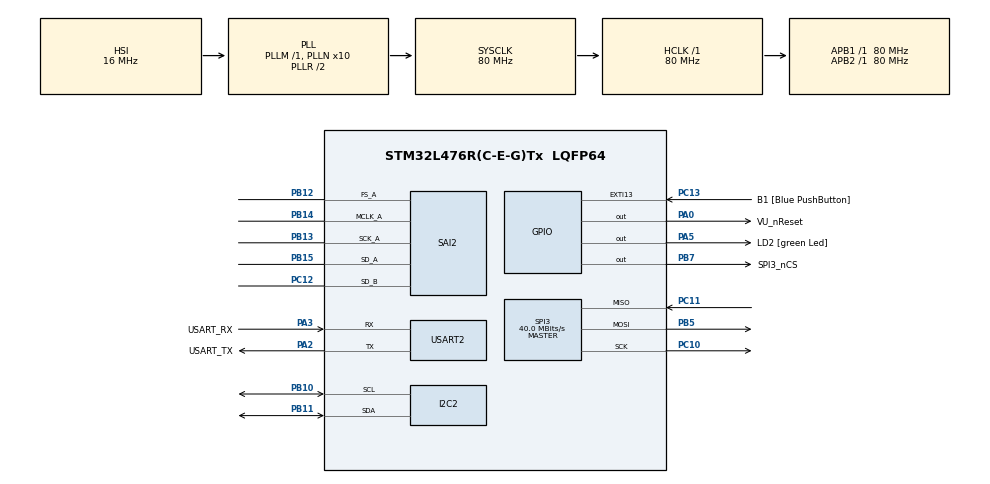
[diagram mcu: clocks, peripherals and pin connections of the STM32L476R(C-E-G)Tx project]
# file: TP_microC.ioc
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Dma.Request0=SAI2_A
Dma.Request1=SAI2_B
Dma.SAI2_A.0.Direction=DMA_MEMORY_TO_PERIPH
Dma.SAI2_A.0.Instance=DMA1_Channel6
Dma.SAI2_A.0.MemDataAlignment=DMA_MDATAALIGN_WORD
Dma.SAI2_A.0.MemInc=DMA_MINC_ENABLE
Dma.SAI2_A.0.Mode=DMA_CIRCULAR
Dma.SAI2_A.0.PeriphDataAlignment=DMA_PDATAALIGN_WORD
Dma.SAI2_A.0.PeriphInc=DMA_PINC_DISABLE
Dma.SAI2_A.0.Priority=DMA_PRIORITY_LOW
Dma.SAI2_B.1.Direction=DMA_PERIPH_TO_MEMORY
Dma.SAI2_B.1.Instance=DMA1_Channel7
Dma.SAI2_B.1.MemDataAlignment=DMA_MDATAALIGN_WORD
Dma.SAI2_B.1.MemInc=DMA_MINC_ENABLE
Dma.SAI2_B.1.Mode=DMA_CIRCULAR
Dma.SAI2_B.1.PeriphDataAlignment=DMA_PDATAALIGN_WORD
Dma.SAI2_B.1.PeriphInc=DMA_PINC_DISABLE
Dma.SAI2_B.1.Priority=DMA_PRIORITY_LOW
I2C2.Timing=0x10D19CE4
Mcu.Family=STM32L4
Mcu.Name=STM32L476R(C-E-G)Tx
Mcu.Package=LQFP64
NVIC.DMA1_Channel6_IRQn=true\:0\:0\:false\:false\:true\:false\:true\:true
NVIC.DMA1_Channel7_IRQn=true\:0\:0\:false\:false\:true\:false\:true\:true
NVIC.PriorityGroup=NVIC_PRIORITYGROUP_4
NVIC.SAI2_IRQn=true\:0\:0\:false\:false\:true\:true\:true\:true
NVIC.USART2_IRQn=true\:0\:0\:false\:false\:true\:true\:true\:true
PA0.GPIO_Label=VU_nReset
PA0.Signal=GPIO_Output
PA13\ (JTMS-SWDIO).GPIO_Label=TMS
PA13\ (JTMS-SWDIO).Mode=Serial_Wire
PA13\ (JTMS-SWDIO).Signal=SYS_JTMS-SWDIO
PA14\ (JTCK-SWCLK).GPIO_Label=TCK
PA14\ (JTCK-SWCLK).Mode=Serial_Wire
PA14\ (JTCK-SWCLK).Signal=SYS_JTCK-SWCLK
PA2.GPIO_Label=USART_TX
PA2.GPIO_Mode=GPIO_MODE_AF_PP
PA2.GPIO_PuPd=GPIO_NOPULL
PA2.GPIO_Speed=GPIO_SPEED_FREQ_VERY_HIGH
PA2.Mode=Asynchronous
PA2.Signal=USART2_TX
PA3.GPIO_Label=USART_RX
PA3.GPIO_Mode=GPIO_MODE_AF_PP
PA3.GPIO_PuPd=GPIO_NOPULL
PA3.GPIO_Speed=GPIO_SPEED_FREQ_VERY_HIGH
PA3.Mode=Asynchronous
PA3.Signal=USART2_RX
PA5.GPIO_Label=LD2 [green Led]
PA5.GPIO_ModeDefaultOutputPP=GPIO_MODE_OUTPUT_PP
PA5.GPIO_PuPd=GPIO_NOPULL
PA5.GPIO_Speed=GPIO_SPEED_FREQ_LOW
PA5.Signal=GPIO_Output
PB10.Mode=I2C
PB10.Signal=I2C2_SCL
PB11.Mode=I2C
PB11.Signal=I2C2_SDA
PB12.Mode=SAI_A_MasterWithClock
PB12.Signal=SAI2_FS_A
PB13.Mode=SAI_A_MasterWithClock
PB13.Signal=SAI2_SCK_A
PB14.Mode=SAI_A_MasterWithClock
PB14.Signal=SAI2_MCLK_A
PB15.Mode=SAI_A_MasterWithClock
PB15.Signal=SAI2_SD_A
PB3\ (JTDO-TRACESWO).GPIO_Label=SWO
PB3\ (JTDO-TRACESWO).Signal=SYS_JTDO-SWO
PB5.Mode=Full_Duplex_Master
PB5.Signal=SPI3_MOSI
PB7.GPIO_Label=SPI3_nCS
PB7.Signal=GPIO_Output
PC10.Mode=Full_Duplex_Master
PC10.Signal=SPI3_SCK
PC11.Mode=Full_Duplex_Master
PC11.Signal=SPI3_MISO
PC12.Mode=SAI_B_SyncSlave
PC12.Signal=SAI2_SD_B
PC13.GPIO_Label=B1 [Blue PushButton]
PC13.GPIO_ModeDefaultEXTI=GPIO_MODE_IT_FALLING
PC13.GPIO_PuPd=GPIO_NOPULL
PC13.Signal=GPXTI13
PC14-OSC32_IN\ (PC14).Mode=LSE-External-Oscillator
PC14-OSC32_IN\ (PC14).Signal=RCC_OSC32_IN
PC15-OSC32_OUT\ (PC15).Mode=LSE-External-Oscillator
PC15-OSC32_OUT\ (PC15).Signal=RCC_OSC32_OUT
PH0-OSC_IN\ (PH0).Signal=RCC_OSC_IN
PH1-OSC_OUT\ (PH1).Signal=RCC_OSC_OUT
ProjectManager.HeapSize=0x200
ProjectManager.StackSize=0x400
ProjectManager.TargetToolchain=STM32CubeIDE
RCC.ADCFreq_Value=104000000
RCC.AHBFreq_Value=80000000
RCC.APB1Freq_Value=80000000
RCC.APB1TimFreq_Value=80000000
RCC.APB2Freq_Value=80000000
RCC.APB2TimFreq_Value=80000000
RCC.CortexFreq_Value=80000000
RCC.HCLKFreq_Value=80000000
RCC.HSE_VALUE=8000000
RCC.HSI_VALUE=16000000
RCC.MSI_VALUE=4000000
RCC.PLLN=10
RCC.PLLSAI1N=13
RCC.PLLSAI1P=RCC_PLLP_DIV17
RCC.PLLSourceVirtual=RCC_PLLSOURCE_HSI
RCC.PREFETCH_ENABLE=1
RCC.SYSCLKFreq_VALUE=80000000
RCC.SYSCLKSource=RCC_SYSCLKSOURCE_PLLCLK
RCC.USBFreq_Value=104000000
RCC.VCOOutputFreq_Value=160000000
SAI2.AudioFrequency-SAI_A_MasterWithClock=SAI_AUDIO_FREQUENCY_48K
SAI2.ErrorAudioFreq-SAI_A_MasterWithClock=-0.42 %
SAI2.InitProtocol-SAI_A_MasterWithClock=Enable
SAI2.InitProtocol-SAI_B_SyncSlave=Enable
SAI2.Instance-SAI_A_MasterWithClock=SAI$Index_Block_A
SAI2.Instance-SAI_B_SyncSlave=SAI$Index_Block_B
SAI2.MClockEnable-SAI_A_MasterWithClock=SAI_MASTERCLOCK_ENABLE
SAI2.RealAudioFreq-SAI_A_MasterWithClock=47.794 KHz
SAI2.VirtualMode-SAI_A_MasterWithClock=VM_MASTER
SAI2.VirtualMode-SAI_B_SyncSlave=VM_SLAVE
SAI2.VirtualProtocol-SAI_A_BASIC=VM_BASIC_PROTOCOL
SAI2.VirtualProtocol-SAI_B_BASIC=VM_BASIC_PROTOCOL
SPI3.CalculateBaudRate=40.0 MBits/s
SPI3.DataSize=SPI_DATASIZE_8BIT
SPI3.Direction=SPI_DIRECTION_2LINES
SPI3.Mode=SPI_MODE_MASTER
SPI3.VirtualType=VM_MASTER
USART2.VirtualMode-Asynchronous=VM_ASYNC
VP_SAI2_VP_$IpInstance_SAIA_SAI_BASIC.Mode=SAI_A_BASIC
VP_SAI2_VP_$IpInstance_SAIB_SAI_BASIC.Mode=SAI_B_BASIC
board=NUCLEO-L476RG

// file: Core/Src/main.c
/* USER CODE BEGIN Header */
/**
 ******************************************************************************
 * @file           : main.c
 * @brief          : Main program body
 ******************************************************************************
 * @attention
 *
 * Copyright (c) 2025 STMicroelectronics.
 * All rights reserved.
 *
 * This software is licensed under terms that can be found in the LICENSE file
 * in the root directory of this software component.
 * If no LICENSE file comes with this software, it is provided AS-IS.
 *
 ******************************************************************************
 */
/* USER CODE END Header */
#include "main.h"
/* USER CODE BEGIN 0 */
#include <stdbool.h>
#include <string.h>

#include "driver_led.h"
#include "sgtl5000.h"

extern SPI_HandleTypeDef hspi3;  // SPI3

/* Private variables ---------------------------------------------------------*/
I2C_HandleTypeDef hi2c2;

SAI_HandleTypeDef hsai_BlockA2;
SAI_HandleTypeDef hsai_BlockB2;
DMA_HandleTypeDef hdma_sai2_a;
DMA_HandleTypeDef hdma_sai2_b;

SPI_HandleTypeDef hspi3;

UART_HandleTypeDef huart2;

#define TRIANGLE_RESOLUTION 100  // Nombre d’échantillons pour une période
#define TRIANGLE_AMPLITUDE  30000 // Amplitude max du signal (max 32767 pour 16 bits signé)

/* Private function prototypes -----------------------------------------------*/
void SystemClock_Config(void);
void PeriphCommonClock_Config(void);
static void MX_GPIO_Init(void);
static void MX_DMA_Init(void);
static void MX_USART2_UART_Init(void);
static void MX_SPI3_Init(void);
static void MX_I2C2_Init(void);
static void MX_SAI2_Init(void);

/* Private user code ---------------------------------------------------------*/
int16_t triangleWave[TRIANGLE_RESOLUTION]; // Stéréo : Gauche/Droite
int16_t txBuffer[TRIANGLE_RESOLUTION * 2]; // Réception DMA stéréo

/*void Generate_TriangleWave(void) {
    for (int i = 0; i < TRIANGLE_RESOLUTION / 2; i++) {
        triangleWave[i] = (int16_t)((2 * TRIANGLE_AMPLITUDE * i) / (TRIANGLE_RESOLUTION / 2) - TRIANGLE_AMPLITUDE);
    }
    for (int i = TRIANGLE_RESOLUTION / 2; i < TRIANGLE_RESOLUTION; i++) {
        triangleWave[i] = (int16_t)((-2 * TRIANGLE_AMPLITUDE * (i - TRIANGLE_RESOLUTION / 2)) / (TRIANGLE_RESOLUTION / 2) + TRIANGLE_AMPLITUDE);
    }

    // Stéréo : Copie chaque échantillon pour les deux canaux (gauche/droite)
    for (int i = 0; i < TRIANGLE_RESOLUTION; i++) {
        txBuffer[2*i] = (uint16_t)triangleWave[i];      // Canal gauche
        txBuffer[2*i + 1] = (uint16_t)triangleWave[i];  // Canal droit
    }
}*/
void Generate_TriangleWave(void) {
    for (int i = 0; i < TRIANGLE_RESOLUTION; i++) {
        int16_t value;

        if (i < TRIANGLE_RESOLUTION / 2)
            value = (2 * TRIANGLE_AMPLITUDE * i) / (TRIANGLE_RESOLUTION / 2) - TRIANGLE_AMPLITUDE;
        else
            value = (-2 * TRIANGLE_AMPLITUDE * (i - TRIANGLE_RESOLUTION / 2)) / (TRIANGLE_RESOLUTION / 2) + TRIANGLE_AMPLITUDE;

        // Stéréo : Gauche = Droite
        txBuffer[2*i]     = (uint16_t)value;
        txBuffer[2*i + 1] = (uint16_t)value;
    }
}

int __io_putchar(int chr) // redirection de printf de flux sortant stdout vers usart
{
	HAL_UART_Transmit(&huart2, (uint8_t*)&chr, 1, HAL_MAX_DELAY);
	return chr;
}

/* USER CODE END 0 */

void USART2_SendString(const char *str) {
	// Envoyer la chaîne de caractères
	HAL_UART_Transmit(&huart2, (uint8_t *)str, strlen(str), HAL_MAX_DELAY);
}

#define I2C_ADDR_CODEC   0x14  // Adresse I2C du CODEC écriture (0x0A << 1 | 0)
#define REG_CHIP_ID      0x0000 // Adresse du registre CHIP_ID

extern I2C_HandleTypeDef hi2c2; // Assurez-vous que votre handle I2C est défini

uint8_t chip_id[2]; // Tableau pour stocker la valeur lue

HAL_StatusTypeDef Read_Chip_ID(void) {
	HAL_StatusTypeDef status;

	// Lecture de 2 octets depuis le registre CHIP_ID
	status = HAL_I2C_Mem_Read(&hi2c2, (I2C_ADDR_CODEC), REG_CHIP_ID, I2C_MEMADD_SIZE_16BIT, chip_id, 2, HAL_MAX_DELAY);

	return status;
}

int main(void)
{

	/* USER CODE END 1 */

	/* MCU Configuration--------------------------------------------------------*/

	/* Reset of all peripherals, Initializes the Flash interface and the Systick. */
	HAL_Init();

	/* Configure the system clock */
	SystemClock_Config();

	/* Configure the peripherals common clocks */
	PeriphCommonClock_Config();

	/* Initialize all configured peripherals */
	MX_GPIO_Init();
	MX_DMA_Init();
	MX_USART2_UART_Init();
	MX_SPI3_Init();
	MX_I2C2_Init();
	MX_SAI2_Init();
	/* USER CODE BEGIN 2 */
	/* USER CODE BEGIN 1 */

	__HAL_SAI_ENABLE(&hsai_BlockA2);

	LED_Driver_Init();

	//Test printf avec usart
	printf("\r\n==== Systeme microcontroleur ====\r\n");
	printf("Bonjour via USART!\n"); // Envoi d'un message via l'USART

	/* USER CODE END 2 */

	if(Read_Chip_ID() == HAL_OK){
		printf("CHIP_ID: 0x%02X%02X\n", chip_id[0], chip_id[1]);
	} else {
		printf("Erreur lors de la lecture du CHIP_ID\n");
	}
	/* Infinite loop */
	/* USER CODE BEGIN WHILE */

	//Test deriver_led
	// Allumer la LED A0
	//LED_SetPin(15, GPIO_PIN_RESET);

	// Éteindre la LED B3
	//LED_SetPin(11, GPIO_PIN_SET);
	sgtl5000_i2c = &hi2c2;

	SGTL5000_Init();

	Generate_TriangleWave();  // Génère le signal une fois

	// Lancer émission via DMA (SAI A → SGTL5000)
	HAL_Delay(10);
	HAL_SAI_Transmit_DMA(&hsai_BlockA2, (uint8_t*)txBuffer, TRIANGLE_RESOLUTION * 2 * sizeof(int16_t));

	while (1)
	{
		 //CHIP_ID: 0xA011
		/* USER CODE END WHILE */

		// test chennilard depuis driver_led OK
		//Chenillard();

		/*LED_SetGPIOB(0x00); // All ON
		HAL_Delay(500);
		LED_SetGPIOB(0xFF); // All OFF
		HAL_Delay(500);*/

	}
}

void SystemClock_Config(void)
{
	RCC_OscInitTypeDef RCC_OscInitStruct = {0};
	RCC_ClkInitTypeDef RCC_ClkInitStruct = {0};

	/** Configure the main internal regulator output voltage
	 */
	if (HAL_PWREx_ControlVoltageScaling(PWR_REGULATOR_VOLTAGE_SCALE1) != HAL_OK)
	{
		Error_Handler();
	}

	/** Initializes the RCC Oscillators according to the specified parameters
	 * in the RCC_OscInitTypeDef structure.
	 */
	RCC_OscInitStruct.OscillatorType = RCC_OSCILLATORTYPE_HSI;
	RCC_OscInitStruct.HSIState = RCC_HSI_ON;
	RCC_OscInitStruct.HSICalibrationValue = RCC_HSICALIBRATION_DEFAULT;
	RCC_OscInitStruct.PLL.PLLState = RCC_PLL_ON;
	RCC_OscInitStruct.PLL.PLLSource = RCC_PLLSOURCE_HSI;
	RCC_OscInitStruct.PLL.PLLM = 1;
	RCC_OscInitStruct.PLL.PLLN = 10;
	RCC_OscInitStruct.PLL.PLLP = RCC_PLLP_DIV7;
	RCC_OscInitStruct.PLL.PLLQ = RCC_PLLQ_DIV2;
	RCC_OscInitStruct.PLL.PLLR = RCC_PLLR_DIV2;
	if (HAL_RCC_OscConfig(&RCC_OscInitStruct) != HAL_OK)
	{
		Error_Handler();
	}

	/** Initializes the CPU, AHB and APB buses clocks
	 */
	RCC_ClkInitStruct.ClockType = RCC_CLOCKTYPE_HCLK|RCC_CLOCKTYPE_SYSCLK
			|RCC_CLOCKTYPE_PCLK1|RCC_CLOCKTYPE_PCLK2;
	RCC_ClkInitStruct.SYSCLKSource = RCC_SYSCLKSOURCE_PLLCLK;
	RCC_ClkInitStruct.AHBCLKDivider = RCC_SYSCLK_DIV1;
	RCC_ClkInitStruct.APB1CLKDivider = RCC_HCLK_DIV1;
	RCC_ClkInitStruct.APB2CLKDivider = RCC_HCLK_DIV1;

	if (HAL_RCC_ClockConfig(&RCC_ClkInitStruct, FLASH_LATENCY_4) != HAL_OK)
	{
		Error_Handler();
	}
}

void PeriphCommonClock_Config(void)
{
	RCC_PeriphCLKInitTypeDef PeriphClkInit = {0};

	/** Initializes the peripherals clock
	 */
	PeriphClkInit.PeriphClockSelection = RCC_PERIPHCLK_SAI2;
	PeriphClkInit.Sai2ClockSelection = RCC_SAI2CLKSOURCE_PLLSAI1;
	PeriphClkInit.PLLSAI1.PLLSAI1Source = RCC_PLLSOURCE_HSI;
	PeriphClkInit.PLLSAI1.PLLSAI1M = 1;
	PeriphClkInit.PLLSAI1.PLLSAI1N = 13;
	PeriphClkInit.PLLSAI1.PLLSAI1P = RCC_PLLP_DIV17;
	PeriphClkInit.PLLSAI1.PLLSAI1Q = RCC_PLLQ_DIV2;
	PeriphClkInit.PLLSAI1.PLLSAI1R = RCC_PLLR_DIV2;
	PeriphClkInit.PLLSAI1.PLLSAI1ClockOut = RCC_PLLSAI1_SAI1CLK;
	if (HAL_RCCEx_PeriphCLKConfig(&PeriphClkInit) != HAL_OK)
	{
		Error_Handler();
	}
}

static void MX_I2C2_Init(void)
{

	hi2c2.Instance = I2C2;
	hi2c2.Init.Timing = 0x10D19CE4;
	hi2c2.Init.OwnAddress1 = 0;
	hi2c2.Init.AddressingMode = I2C_ADDRESSINGMODE_7BIT;
	hi2c2.Init.DualAddressMode = I2C_DUALADDRESS_DISABLE;
	hi2c2.Init.OwnAddress2 = 0;
	hi2c2.Init.OwnAddress2Masks = I2C_OA2_NOMASK;
	hi2c2.Init.GeneralCallMode = I2C_GENERALCALL_DISABLE;
	hi2c2.Init.NoStretchMode = I2C_NOSTRETCH_DISABLE;
	if (HAL_I2C_Init(&hi2c2) != HAL_OK)
	{
		Error_Handler();
	}

	/** Configure Analogue filter
	 */
	if (HAL_I2CEx_ConfigAnalogFilter(&hi2c2, I2C_ANALOGFILTER_ENABLE) != HAL_OK)
	{
		Error_Handler();
	}

	/** Configure Digital filter
	 */
	if (HAL_I2CEx_ConfigDigitalFilter(&hi2c2, 0) != HAL_OK)
	{
		Error_Handler();
	}

}

static void MX_SAI2_Init(void)
{

	hsai_BlockA2.Instance = SAI2_Block_A;
	hsai_BlockA2.Init.AudioMode = SAI_MODEMASTER_TX;
	hsai_BlockA2.Init.Synchro = SAI_ASYNCHRONOUS;
	hsai_BlockA2.Init.OutputDrive = SAI_OUTPUTDRIVE_DISABLE;
	hsai_BlockA2.Init.NoDivider = SAI_MASTERDIVIDER_ENABLE;
	hsai_BlockA2.Init.FIFOThreshold = SAI_FIFOTHRESHOLD_EMPTY;
	hsai_BlockA2.Init.AudioFrequency = SAI_AUDIO_FREQUENCY_48K;
	hsai_BlockA2.Init.SynchroExt = SAI_SYNCEXT_DISABLE;
	hsai_BlockA2.Init.MonoStereoMode = SAI_STEREOMODE;
	hsai_BlockA2.Init.CompandingMode = SAI_NOCOMPANDING;
	hsai_BlockA2.Init.TriState = SAI_OUTPUT_NOTRELEASED;
	if (HAL_SAI_InitProtocol(&hsai_BlockA2, SAI_I2S_STANDARD, SAI_PROTOCOL_DATASIZE_16BIT, 2) != HAL_OK)
	{
		Error_Handler();
	}
	hsai_BlockB2.Instance = SAI2_Block_B;
	hsai_BlockB2.Init.AudioMode = SAI_MODESLAVE_RX;
	hsai_BlockB2.Init.Synchro = SAI_SYNCHRONOUS;
	hsai_BlockB2.Init.OutputDrive = SAI_OUTPUTDRIVE_DISABLE;
	hsai_BlockB2.Init.FIFOThreshold = SAI_FIFOTHRESHOLD_EMPTY;
	hsai_BlockB2.Init.SynchroExt = SAI_SYNCEXT_DISABLE;
	hsai_BlockB2.Init.MonoStereoMode = SAI_STEREOMODE;
	hsai_BlockB2.Init.CompandingMode = SAI_NOCOMPANDING;
	hsai_BlockB2.Init.TriState = SAI_OUTPUT_NOTRELEASED;
	if (HAL_SAI_InitProtocol(&hsai_BlockB2, SAI_I2S_STANDARD, SAI_PROTOCOL_DATASIZE_16BIT, 2) != HAL_OK)
	{
		Error_Handler();
	}

}

static void MX_SPI3_Init(void)
{

	/* SPI3 parameter configuration*/
	hspi3.Instance = SPI3;
	hspi3.Init.Mode = SPI_MODE_MASTER;
	hspi3.Init.Direction = SPI_DIRECTION_2LINES;
	hspi3.Init.DataSize = SPI_DATASIZE_8BIT;
	hspi3.Init.CLKPolarity = SPI_POLARITY_LOW;
	hspi3.Init.CLKPhase = SPI_PHASE_1EDGE;
	hspi3.Init.NSS = SPI_NSS_SOFT;
	hspi3.Init.BaudRatePrescaler = SPI_BAUDRATEPRESCALER_2;
	hspi3.Init.FirstBit = SPI_FIRSTBIT_MSB;
	hspi3.Init.TIMode = SPI_TIMODE_DISABLE;
	hspi3.Init.CRCCalculation = SPI_CRCCALCULATION_DISABLE;
	hspi3.Init.CRCPolynomial = 7;
	hspi3.Init.CRCLength = SPI_CRC_LENGTH_DATASIZE;
	hspi3.Init.NSSPMode = SPI_NSS_PULSE_ENABLE;
	if (HAL_SPI_Init(&hspi3) != HAL_OK)
	{
		Error_Handler();
	}

}

static void MX_USART2_UART_Init(void)
{

	huart2.Instance = USART2;
	huart2.Init.BaudRate = 115200;
	huart2.Init.WordLength = UART_WORDLENGTH_8B;
	huart2.Init.StopBits = UART_STOPBITS_1;
	huart2.Init.Parity = UART_PARITY_NONE;
	huart2.Init.Mode = UART_MODE_TX_RX;
	huart2.Init.HwFlowCtl = UART_HWCONTROL_NONE;
	huart2.Init.OverSampling = UART_OVERSAMPLING_16;
	huart2.Init.OneBitSampling = UART_ONE_BIT_SAMPLE_DISABLE;
	huart2.AdvancedInit.AdvFeatureInit = UART_ADVFEATURE_NO_INIT;
	if (HAL_UART_Init(&huart2) != HAL_OK)
	{
		Error_Handler();
	}

}

static void MX_DMA_Init(void)
{

	/* DMA controller clock enable */
	__HAL_RCC_DMA1_CLK_ENABLE();

	/* DMA interrupt init */
	/* DMA1_Channel6_IRQn interrupt configuration */
	HAL_NVIC_SetPriority(DMA1_Channel6_IRQn, 0, 0);
	HAL_NVIC_EnableIRQ(DMA1_Channel6_IRQn);
	/* DMA1_Channel7_IRQn interrupt configuration */
	HAL_NVIC_SetPriority(DMA1_Channel7_IRQn, 0, 0);
	HAL_NVIC_EnableIRQ(DMA1_Channel7_IRQn);

}

static void MX_GPIO_Init(void)
{
	GPIO_InitTypeDef GPIO_InitStruct = {0};

	/* GPIO Ports Clock Enable */
	__HAL_RCC_GPIOC_CLK_ENABLE();
	__HAL_RCC_GPIOH_CLK_ENABLE();
	__HAL_RCC_GPIOA_CLK_ENABLE();
	__HAL_RCC_GPIOB_CLK_ENABLE();

	/*Configure GPIO pin Output Level */
	HAL_GPIO_WritePin(GPIOA, VU_nReset_Pin|LD2_Pin, GPIO_PIN_RESET);

	/*Configure GPIO pin Output Level */
	HAL_GPIO_WritePin(SPI3_nCS_GPIO_Port, SPI3_nCS_Pin, GPIO_PIN_RESET);

	/*Configure GPIO pin : B1_Pin */
	GPIO_InitStruct.Pin = B1_Pin;
	GPIO_InitStruct.Mode = GPIO_MODE_IT_FALLING;
	GPIO_InitStruct.Pull = GPIO_NOPULL;
	HAL_GPIO_Init(B1_GPIO_Port, &GPIO_InitStruct);

	/*Configure GPIO pins : VU_nReset_Pin LD2_Pin */
	GPIO_InitStruct.Pin = VU_nReset_Pin|LD2_Pin;
	GPIO_InitStruct.Mode = GPIO_MODE_OUTPUT_PP;
	GPIO_InitStruct.Pull = GPIO_NOPULL;
	GPIO_InitStruct.Speed = GPIO_SPEED_FREQ_LOW;
	HAL_GPIO_Init(GPIOA, &GPIO_InitStruct);

	/*Configure GPIO pin : SPI3_nCS_Pin */
	GPIO_InitStruct.Pin = SPI3_nCS_Pin;
	GPIO_InitStruct.Mode = GPIO_MODE_OUTPUT_PP;
	GPIO_InitStruct.Pull = GPIO_NOPULL;
	GPIO_InitStruct.Speed = GPIO_SPEED_FREQ_LOW;
	HAL_GPIO_Init(SPI3_nCS_GPIO_Port, &GPIO_InitStruct);

}

void Error_Handler(void)
{
	__disable_irq();
	while (1)
	{
	}
}
